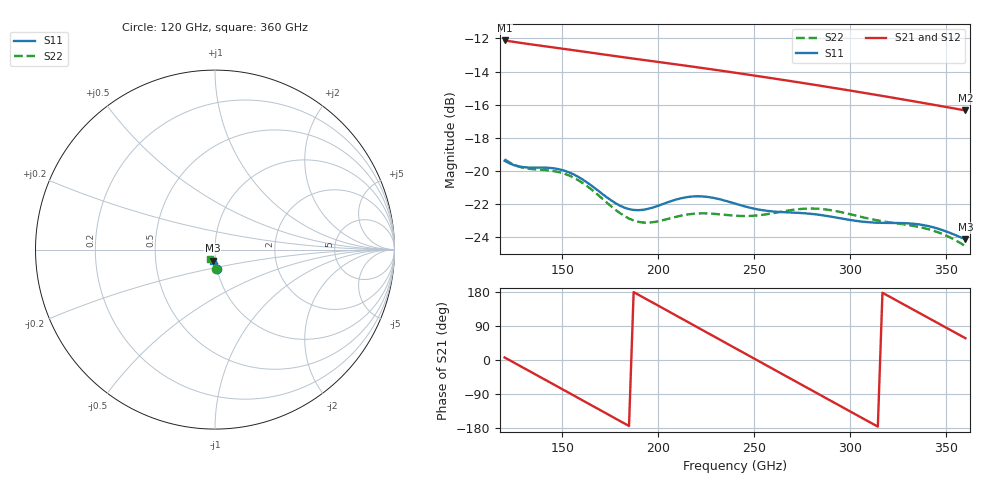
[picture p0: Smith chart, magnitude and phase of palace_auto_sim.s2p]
#  GHZ S DB R 50
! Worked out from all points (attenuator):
!   101 points, 120 GHz to 360 GHz, reference 50 ohm
!   highest |S21| = -12.13 dB at 120 GHz (marker M1); lowest = -16.3 dB at 360 GHz (marker M2)
!   lowest |S11| = -24.1 dB at 360 GHz (marker M3), VSWR 1.13, Z = 48.3 - j5.91 ohm
!   |S11| at or under -10 dB: start of sweep to end of sweep
!   |S22| runs from -24.5 to -19.3 dB; largest |S21 - S12| = 3.6e-14
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120  -19.38 -83.7  -12.13 6.7  -12.13 6.7  -19.29 -86.0
129.6  -19.76 -81.3  -12.29 -20.0  -12.29 -20.0  -19.80 -83.8
141.6  -19.80 -81.7  -12.49 -53.5  -12.49 -53.5  -19.95 -84.0
151.2  -19.98 -84.7  -12.64 -80.3  -12.64 -80.3  -20.17 -87.0
160.8  -20.52 -87.9  -12.79 -107.1  -12.79 -107.1  -20.73 -90.5
172.8  -21.55 -89.1  -12.99 -140.6  -12.99 -140.6  -21.86 -92.5
182.4  -22.21 -86.6  -13.14 -167.4  -13.14 -167.4  -22.72 -90.4
192  -22.34 -82.9  -13.30 165.8  -13.30 165.8  -23.11 -86.4
201.6  -22.03 -81.1  -13.45 139.0  -13.45 139.0  -22.99 -83.5
211.2  -21.66 -82.3  -13.60 112.2  -13.60 112.2  -22.71 -83.1
220.8  -21.52 -85.3  -13.75 85.3  -13.75 85.3  -22.56 -84.5
240  -21.96 -90.6  -14.07 31.6  -14.07 31.6  -22.69 -87.1
249.6  -22.26 -91.4  -14.24 4.8  -14.24 4.8  -22.70 -87.5
259.2  -22.43 -91.8  -14.40 -22.0  -14.40 -22.0  -22.56 -88.3
271.2  -22.51 -92.7  -14.62 -55.5  -14.62 -55.5  -22.33 -91.0
280.8  -22.60 -94.0  -14.79 -82.3  -14.79 -82.3  -22.26 -94.3
290.4  -22.76 -95.3  -14.97 -109.0  -14.97 -109.0  -22.37 -97.8
302.4  -23.00 -96.3  -15.19 -142.5  -15.19 -142.5  -22.67 -101.4
312  -23.11 -96.6  -15.38 -169.2  -15.38 -169.2  -22.93 -103.5
321.6  -23.13 -97.2  -15.57 164.1  -15.57 164.1  -23.12 -105.5
340.8  -23.32 -100.6  -15.95 110.8  -15.95 110.8  -23.51 -111.1
360  -24.12 -102.2  -16.35 57.6  -16.35 57.6  -24.53 -117.5
